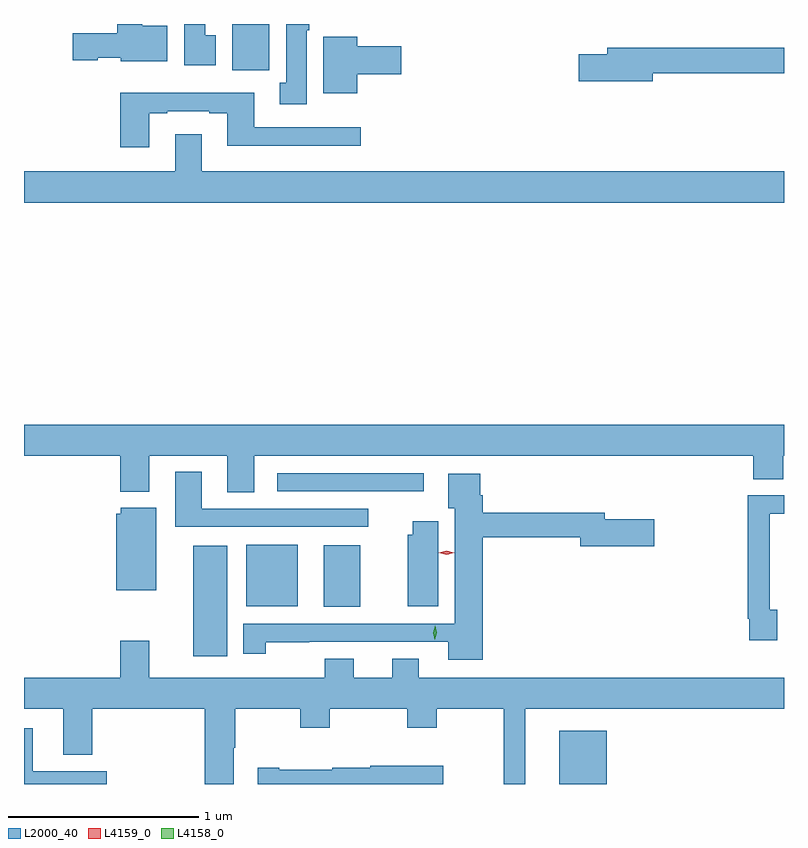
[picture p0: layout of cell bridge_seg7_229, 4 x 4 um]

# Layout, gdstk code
import gdstk
lib = gdstk.Library(unit=1e-6, precision=1e-09)
def R(c, l, rs):  # rectangles x0, y0, x1, y1
    for r in rs: c.add(gdstk.rectangle(r[:2], r[2:], *l))
def P(c, l, *ps):  # polygons
    for p in ps: c.add(gdstk.Polygon(p, *l))
L2000_40 = (2000, 40)
L4158_0 = (4158, 0)
L4159_0 = (4159, 0)

bridge_seg7_229 = lib.new_cell('bridge_seg7_229')
R(bridge_seg7_229, L2000_40, [(360.593,1036.184,360.844,1036.465), (358.667,1036.856,358.846,1037.437), (359.354,1037.117,359.545,1037.44), (358.946,1037.12,359.218,1037.443), (359.109,1037.724,359.881,1037.82), (358.871,1039.94,359.068,1040.182)])
P(bridge_seg7_229, L2000_40, [(358.786,1040.124),(358.729,1040.124),(358.729,1040.184),(358.619,1040.184),(358.619,1039.968),(358.786,1039.968)],
  [(359.263,1040.15),(359.278,1040.15),(359.278,1040.184),(359.156,1040.184),(359.156,1039.874),(359.123,1039.874),(359.123,1039.761),(359.263,1039.761)],
  [(358.531,1040.176),(358.398,1040.176),(358.398,1040.182),(358.268,1040.182),(358.268,1040.136),(358.032,1040.136),(358.032,1039.994),(358.164,1039.994),(358.164,1040.006),(358.284,1040.006),(358.284,1039.988),(358.531,1039.988)],
  [(359.53,1039.919),(359.761,1039.919),(359.761,1040.066),(359.53,1040.066),(359.53,1040.116),(359.351,1040.116),(359.351,1039.82),(359.53,1039.82)],
  [(361.084,1039.924),(361.776,1039.924),(361.776,1040.06),(360.845,1040.06),(360.845,1040.024),(360.696,1040.024),(360.696,1039.882),(361.084,1039.882)],
  [(358.435,1039.713),(358.531,1039.713),(358.531,1039.725),(358.751,1039.725),(358.751,1039.713),(358.847,1039.713),(358.847,1039.544),(359.548,1039.544),(359.548,1039.641),(358.987,1039.641),(358.987,1039.822),(358.283,1039.822),(358.283,1039.536),(358.435,1039.536)],
  [(361.776,1039.408),(358.711,1039.408),(358.711,1039.603),(358.571,1039.603),(358.571,1039.408),(357.776,1039.408),(357.776,1039.244),(361.776,1039.244)],
  [(358.987,1037.912),(361.613,1037.912),(361.613,1037.788),(361.773,1037.788),(361.773,1037.912),(361.776,1037.912),(361.776,1038.076),(357.776,1038.076),(357.776,1037.912),(358.283,1037.912),(358.283,1037.723),(358.435,1037.723),(358.435,1037.912),(358.847,1037.912),(358.847,1037.719),(358.987,1037.719)],
  [(359.587,1037.634),(358.711,1037.634),(358.711,1037.827),(358.571,1037.827),(358.571,1037.538),(359.587,1037.538)],
  [(360.191,1037.482),(360.704,1037.482),(360.704,1037.435),(361.093,1037.435),(361.093,1037.577),(360.832,1037.577),(360.832,1037.611),(360.191,1037.611),(360.191,1037.705),(360.178,1037.705),(360.178,1037.818),(360.008,1037.818),(360.008,1037.636),(360.044,1037.636),(360.044,1037.028),(358.931,1037.028),(358.931,1036.869),(359.049,1036.869),(359.049,1036.93),(359.276,1036.93),(359.276,1036.932),(360.008,1036.932),(360.008,1036.838),(360.191,1036.838)],
  [(361.741,1037.102),(361.701,1037.102),(361.701,1037.606),(361.776,1037.606),(361.776,1037.703),(361.585,1037.703),(361.585,1037.053),(361.593,1037.053),(361.593,1036.941),(361.741,1036.941)],
  [(358.471,1037.638),(358.284,1037.638),(358.284,1037.607),(358.262,1037.607),(358.262,1037.204),(358.471,1037.204)],
  [(359.956,1037.566),(359.822,1037.566),(359.822,1037.496),(359.795,1037.496),(359.795,1037.12),(359.956,1037.12)],
  [(358.879,1036.376),(358.887,1036.376),(358.887,1036.58),(359.23,1036.58),(359.23,1036.481),(359.385,1036.481),(359.385,1036.58),(359.794,1036.58),(359.794,1036.481),(359.949,1036.481),(359.949,1036.58),(360.301,1036.58),(360.301,1036.184),(360.415,1036.184),(360.415,1036.58),(361.776,1036.58),(361.776,1036.744),(359.854,1036.744),(359.854,1036.843),(359.714,1036.843),(359.714,1036.744),(359.512,1036.744),(359.512,1036.843),(359.36,1036.843),(359.36,1036.744),(358.435,1036.744),(358.435,1036.939),(358.283,1036.939),(358.283,1036.744),(357.776,1036.744),(357.776,1036.58),(357.983,1036.58),(357.983,1036.337),(358.136,1036.337),(358.136,1036.58),(358.727,1036.58),(358.727,1036.184),(358.879,1036.184)],
  [(358.211,1036.252),(357.823,1036.252),(357.823,1036.477),(357.776,1036.477),(357.776,1036.184),(358.211,1036.184)],
  [(359.982,1036.279),(359.598,1036.279),(359.598,1036.27),(359.398,1036.27),(359.398,1036.26),(359.119,1036.26),(359.119,1036.27),(359.007,1036.27),(359.007,1036.184),(359.982,1036.184)])
P(bridge_seg7_229, L4158_0, [(359.937,1036.944),(359.937,1036.944),(359.929,1036.98),(359.94,1037.016),(359.941,1037.016),(359.941,1037.016),(359.949,1036.979),(359.937,1036.944)])
P(bridge_seg7_229, L4159_0, [(360,1037.391),(359.959,1037.4),(359.959,1037.4),(359.959,1037.401),(360,1037.411),(360.04,1037.402),(360.041,1037.402),(360.04,1037.402)])

lib.write_gds('bridge_seg7_229.gds')
